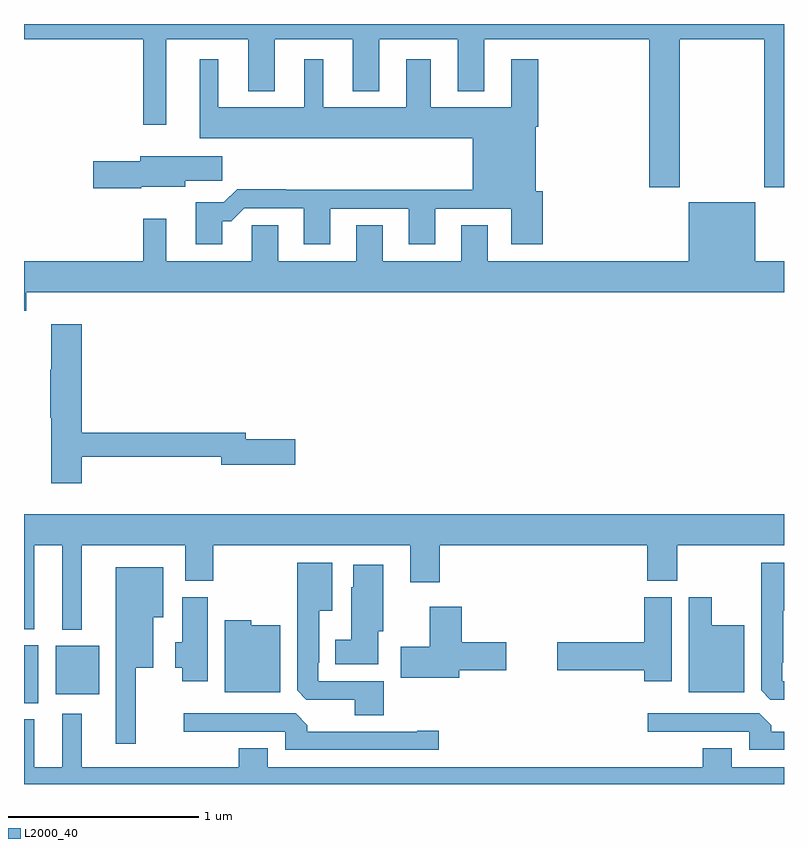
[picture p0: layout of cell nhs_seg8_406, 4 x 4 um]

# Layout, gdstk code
import gdstk
lib = gdstk.Library(unit=1e-6, precision=1e-09)
def R(c, l, rs):  # rectangles x0, y0, x1, y1
    for r in rs: c.add(gdstk.rectangle(r[:2], r[2:], *l))
def P(c, l, *ps):  # polygons
    for p in ps: c.add(gdstk.Polygon(p, *l))
L2000_40 = (2000, 40)

nhs_seg8_406 = lib.new_cell('nhs_seg8_406')
R(nhs_seg8_406, L2000_40, [(137,1126.325,137.074,1126.63), (137.168,1126.373,137.395,1126.627)])
P(nhs_seg8_406, L2000_40, [(140.451,1129.82),(140.896,1129.82),(140.896,1129.041),(141,1129.041),(141,1129.9),(137,1129.9),(137,1129.82),(137.628,1129.82),(137.628,1129.371),(137.749,1129.371),(137.749,1129.82),(138.179,1129.82),(138.179,1129.547),(138.319,1129.547),(138.319,1129.82),(138.731,1129.82),(138.731,1129.547),(138.871,1129.547),(138.871,1129.82),(139.283,1129.82),(139.283,1129.547),(139.423,1129.547),(139.423,1129.82),(140.291,1129.82),(140.291,1129.041),(140.451,1129.041)],
  [(138.043,1128.863),(138.092,1128.863),(138.159,1128.93),(138.473,1128.93),(138.473,1128.741),(138.613,1128.741),(138.613,1128.927),(139.025,1128.927),(139.025,1128.741),(139.165,1128.741),(139.165,1128.927),(139.565,1128.927),(139.565,1128.741),(139.73,1128.741),(139.73,1129.02),(139.693,1129.02),(139.693,1129.358),(139.706,1129.358),(139.706,1129.714),(139.565,1129.714),(139.565,1129.462),(139.141,1129.462),(139.141,1129.714),(139.013,1129.714),(139.013,1129.462),(138.574,1129.462),(138.574,1129.714),(138.476,1129.714),(138.476,1129.462),(138.022,1129.462),(138.022,1129.714),(137.924,1129.714),(137.924,1129.298),(139.361,1129.298),(139.361,1129.028),(138.377,1129.028),(138.377,1129.031),(138.122,1129.031),(138.052,1128.961),(137.903,1128.961),(137.903,1128.741),(138.043,1128.741)],
  [(137.616,1129.043),(137.848,1129.043),(137.848,1129.075),(138.043,1129.075),(138.043,1129.204),(137.612,1129.204),(137.612,1129.178),(137.364,1129.178),(137.364,1129.036),(137.616,1129.036)],
  [(141,1128.652),(140.848,1128.652),(140.848,1128.961),(140.498,1128.961),(140.498,1128.652),(139.441,1128.652),(139.441,1128.842),(139.301,1128.842),(139.301,1128.652),(138.889,1128.652),(138.889,1128.842),(138.749,1128.842),(138.749,1128.652),(138.337,1128.652),(138.337,1128.842),(138.198,1128.842),(138.198,1128.652),(137.749,1128.652),(137.749,1128.874),(137.628,1128.874),(137.628,1128.652),(137,1128.652),(137,1128.392),(137.012,1128.392),(137.012,1128.488),(141,1128.488)],
  [(137.303,1127.622),(138.038,1127.622),(138.038,1127.579),(138.427,1127.579),(138.427,1127.714),(138.166,1127.714),(138.166,1127.75),(137.303,1127.75),(137.303,1128.319),(137.144,1128.319),(137.144,1128.08),(137.137,1128.08),(137.137,1127.827),(137.144,1127.827),(137.144,1127.484),(137.303,1127.484)],
  [(137.305,1127.156),(137.849,1127.156),(137.849,1126.969),(137.997,1126.969),(137.997,1127.156),(139.034,1127.156),(139.034,1126.962),(139.187,1126.962),(139.187,1127.156),(140.279,1127.156),(140.279,1126.969),(140.439,1126.969),(140.439,1127.156),(141,1127.156),(141,1127.32),(137,1127.32),(137,1126.715),(137.053,1126.715),(137.053,1127.156),(137.201,1127.156),(137.201,1126.712),(137.305,1126.712)],
  [(138.893,1126.44),(138.549,1126.44),(138.549,1126.537),(138.553,1126.537),(138.553,1126.811),(138.622,1126.811),(138.622,1127.065),(138.437,1127.065),(138.437,1126.393),(138.486,1126.344),(138.74,1126.344),(138.74,1126.261),(138.893,1126.261)],
  [(141,1126.44),(140.991,1126.44),(140.991,1126.537),(140.995,1126.537),(140.995,1126.811),(141,1126.811),(141,1127.065),(140.879,1127.065),(140.879,1126.393),(140.928,1126.344),(141,1126.344)],
  [(138.865,1126.704),(138.892,1126.704),(138.892,1127.053),(138.734,1127.053),(138.734,1126.935),(138.722,1126.935),(138.722,1126.66),(138.638,1126.66),(138.638,1126.529),(138.865,1126.529)],
  [(137.587,1126.511),(137.68,1126.511),(137.68,1126.778),(137.734,1126.778),(137.734,1127.041),(137.483,1127.041),(137.483,1126.113),(137.587,1126.113)],
  [(137.968,1126.884),(137.834,1126.884),(137.834,1126.646),(137.795,1126.646),(137.795,1126.511),(137.834,1126.511),(137.834,1126.44),(137.968,1126.44)],
  [(140.41,1126.884),(140.264,1126.884),(140.264,1126.646),(139.806,1126.646),(139.806,1126.499),(140.264,1126.499),(140.264,1126.44),(140.41,1126.44)],
  [(140.791,1126.735),(140.62,1126.735),(140.62,1126.882),(140.498,1126.882),(140.498,1126.382),(140.791,1126.382)],
  [(139.291,1126.499),(139.537,1126.499),(139.537,1126.646),(139.304,1126.646),(139.304,1126.834),(139.136,1126.834),(139.136,1126.623),(138.984,1126.623),(138.984,1126.46),(139.291,1126.46)],
  [(138.349,1126.735),(138.195,1126.735),(138.195,1126.762),(138.056,1126.762),(138.056,1126.382),(138.349,1126.382)],
  [(139.183,1126.181),(139.07,1126.181),(139.07,1126.176),(138.491,1126.176),(138.491,1126.21),(138.429,1126.272),(137.841,1126.272),(137.841,1126.176),(138.375,1126.176),(138.375,1126.08),(139.183,1126.08)],
  [(141,1126.176),(140.933,1126.176),(140.933,1126.21),(140.871,1126.272),(140.283,1126.272),(140.283,1126.176),(140.817,1126.176),(140.817,1126.08),(141,1126.08)],
  [(141,1125.988),(140.725,1125.988),(140.725,1126.087),(140.573,1126.087),(140.573,1125.988),(138.283,1125.988),(138.283,1126.087),(138.131,1126.087),(138.131,1125.988),(137.305,1125.988),(137.305,1126.27),(137.201,1126.27),(137.201,1125.988),(137.053,1125.988),(137.053,1126.24),(137,1126.24),(137,1125.9),(141,1125.9)])

lib.write_gds('nhs_seg8_406.gds')
